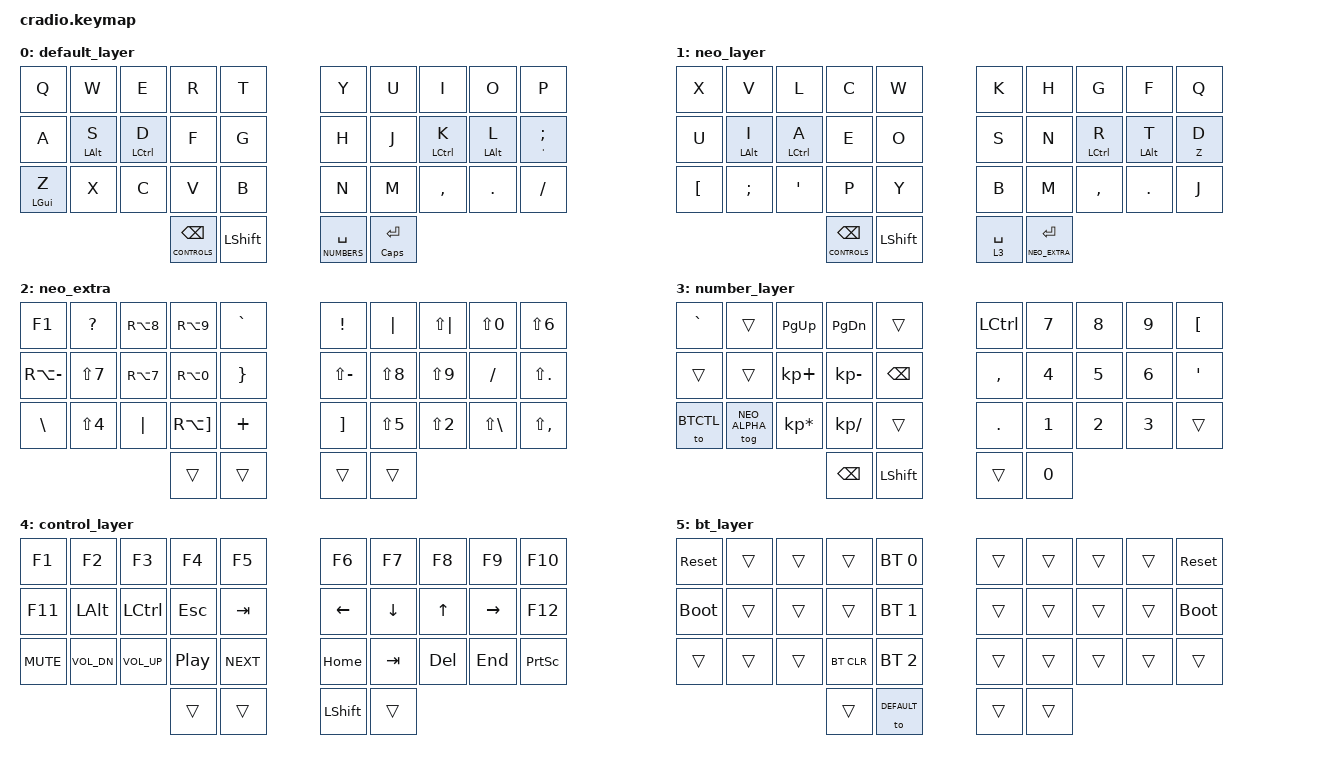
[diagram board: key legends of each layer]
// Copyright (c) 2022 The ZMK Contributors
// SPDX-License-Identifier: MIT

#include <behaviors.dtsi>
#include <dt-bindings/zmk/keys.h>
#include <dt-bindings/zmk/bt.h>

#define DEFAULT 0
#define NEO_ALPHA 1
#define NEO_EXTRA 2
#define NUMBERS 3
#define CONTROLS 4
#define BTCTL 5

&lt {
    tapping-term-ms = <150>;
    flavor = "tap-preferred";
};

/ {
    behaviors {
        ht: hold_tap {
            label = "hold_tap";
            compatible = "zmk,behavior-hold-tap";
            #binding-cells = <2>;
            flavor = "tap-preferred";
            tapping-term-ms = <150>;
            bindings = <&kp>, <&kp>;
            quick-tap-ms = <50>;
        };
    };

    keymap {
        compatible = "zmk,keymap";
        default_layer {
            bindings = <
        //╭──────────┬──────────┬──────────┬──────────┬──────────╮   ╭──────────┬──────────┬──────────┬──────────┬──────────╮
        //│  Q        │  W        │  E        │  R         │  T        │    │  Y       │  U         │  I        │  O         │  P        │
            &kp Q      &kp W      &kp E      &kp R      &kp T                 &kp Y      &kp U      &kp I      &kp O      &kp P
        //├──────────┼──────────┼──────────┼──────────┼──────────┤   ├──────────┼──────────┼──────────┼──────────┼──────────┤
        //│  A         │  S        │  D        │  F        │  G         │   │  H        │  J        │  K        │  L         │ ' "       │
            &kp A       &ht LALT S  &ht LCTRL D &kp F     &kp G               &kp H       &kp J       &ht LCTRL K &ht LALT L    &ht SINGLE_QUOTE SEMICOLON
        //├──────────┼──────────┼──────────┼──────────┼──────────┤   ├──────────┼──────────┼──────────┼──────────┼──────────┤
        //│  Z        │  X         │  C        │  V        │  B         │  │  N         │  M        │ , <       │ . >        │ / ?       │
            &ht LGUI Z    &kp X      &kp C      &kp V      &kp B                 &kp N      &kp M      &kp COMMA  &kp DOT    &kp FSLH
        //╰──────────┴──────────┴──────────┼──────────┼──────────┤   ├──────────┼──────────┼──────────┴──────────┴──────────╯
                                         &lt CONTROLS BSPC   &kp LSHFT     &lt NUMBERS SPACE  &ht CAPS ENTER
        //                                     ╰──────────┴──────────╯   ╰──────────┴──────────╯
            >;
        };

        neo_layer {
            bindings = <
        //╭──────────┬──────────┬──────────┬──────────┬──────────╮   ╭──────────┬──────────┬──────────┬──────────┬──────────╮
        //│           │           │            │           │           │    │           │           │            │           │           │
            &kp X      &kp V        &kp L           &kp C      &kp W            &kp K      &kp H         &kp G      &kp F        &kp Q
        //├──────────┼──────────┼──────────┼──────────┼──────────┤   ├──────────┼──────────┼──────────┼──────────┼──────────┤
        //│            │           │           │          │            │   │            │           │            │           │           │
            &kp U       &ht LALT I    &ht LCTRL A       &kp E     &kp O         &kp S     &kp N      &ht LCTRL R    &ht LALT T   &ht Z D
        //├──────────┼──────────┼──────────┼──────────┼──────────┤   ├──────────┼──────────┼──────────┼──────────┼──────────┤
        //│           │           │           │            │           │    │           │           │           │            │           │
            &kp LBKT  &kp SEMICOLON &kp SINGLE_QUOTE  &kp P        &kp Y         &kp B          &kp M      &kp COMMA  &kp DOT       &kp J
        //╰──────────┴──────────┴──────────┼──────────┼──────────┤   ├──────────┼──────────┼──────────┴──────────┴──────────╯
                                       &lt CONTROLS BSPC   &kp LSHFT        &lt 3 SPACE  &lt NEO_EXTRA ENTER
        //                                     ╰──────────┴──────────╯   ╰──────────┴──────────╯
            >;
        };


        neo_extra {
            bindings = <
        //╭──────────┬──────────┬──────────┬──────────┬──────────╮   ╭──────────┬──────────┬──────────┬──────────┬──────────╮
        //│   …       │   _       │   [        │     ]     │     ^     │    │    !      │    <      │     >      │   =       │    &      │
            &kp F1      &kp QUESTION  &kp RA(N8)  &kp RA(N9)   &kp GRAVE        &kp EXCLAMATION  &kp PIPE &kp LS(PIPE) &kp LS(N0) &kp LS(N6)
        //├──────────┼──────────┼──────────┼──────────┼──────────┤   ├──────────┼──────────┼──────────┼──────────┼──────────┤
        //│     \      │     /     │    {      │     }    │      *     │   │    ?       │       (   │      )     │     -     │     :     │
            &kp RA(MINUS) &kp LS(N7) &kp RA(N7) &kp RA(N0)  &kp RBRC      &kp LS(MINUS) &kp LS(N8) &kp LS(N9)    &kp FSLH  &kp LS(DOT)
        //├──────────┼──────────┼──────────┼──────────┼──────────┤   ├──────────┼──────────┼──────────┼──────────┼──────────┤
        //│   #       │     $     │     |     │    ~       │    `      │    │    +      │    %      │    "      │     '      │   ;       │
            &kp BSLH  &kp LS(N4)    &kp PIPE    &kp RA(RBKT)   &kp PLUS         &kp RBKT   &kp LS(N5)   &kp LS(N2)   &kp LS(BSLH) &kp LS(COMMA)
        //╰──────────┴──────────┴──────────┼──────────┼──────────┤   ├──────────┼──────────┼──────────┴──────────┴──────────╯
                                             &trans     &trans      &trans     &trans
        //                                 ╰──────────┴──────────╯   ╰──────────┴──────────╯
            >;
        };

        number_layer {
            bindings = <
        //╭──────────┬──────────┬──────────┬──────────┬──────────╮   ╭──────────┬──────────┬──────────┬──────────┬──────────╮
        //│           │           │            │           │           │    │           │           │            │           │           │
            &kp GRAVE    &trans     &kp PG_UP     &kp PG_DN     &trans         &kp LCTRL   &kp N7       &kp N8       &kp N9     &kp LBKT
        //├──────────┼──────────┼──────────┼──────────┼──────────┤   ├──────────┼──────────┼──────────┼──────────┼──────────┤
        //│            │           │           │          │            │   │            │           │            │           │           │
            &trans      &trans     &kp KP_PLUS     &kp KP_MINUS     &kp BSPC         &kp COMMA       &kp N4      &kp N5        &kp N6   &kp SINGLE_QUOTE
        //├──────────┼──────────┼──────────┼──────────┼──────────┤   ├──────────┼──────────┼──────────┼──────────┼──────────┤
        //│           │           │           │            │           │    │           │           │           │            │           │
           &to BTCTL  &tog NEO_ALPHA &kp KP_MULTIPLY     &kp KP_DIVIDE     &trans         &kp DOT     &kp N1     &kp N2       &kp N3       &trans
        //╰──────────┴──────────┴──────────┼──────────┼──────────┤   ├──────────┼──────────┼──────────┴──────────┴──────────╯
                                                 &kp BSPC     &kp LSHFT        &trans     &kp N0
        //                                     ╰──────────┴──────────╯   ╰──────────┴──────────╯
            >;
        };

        control_layer {
            bindings = <
        //╭──────────┬──────────┬──────────┬──────────┬──────────╮   ╭──────────┬──────────┬──────────┬──────────┬──────────╮
        //│           │           │            │           │           │    │           │           │            │           │           │
            &kp F1      &kp F2        &kp F3      &kp F4      &kp F5            &kp F6      &kp F7      &kp F8      &kp F9        &kp F10
        //├──────────┼──────────┼──────────┼──────────┼──────────┤   ├──────────┼──────────┼──────────┼──────────┼──────────┤
        //│            │           │           │          │            │   │            │           │            │           │           │
            &kp F11       &kp LALT    &kp LCTRL    &kp ESC    &kp TAB         &kp LEFT    &kp DOWN      &kp UP      &kp RIGHT   &kp F12
        //├──────────┼──────────┼──────────┼──────────┼──────────┤   ├──────────┼──────────┼──────────┼──────────┼──────────┤
        //│           │           │           │            │           │    │           │           │           │            │           │
           &kp C_MUTE &kp C_VOL_DN &kp C_VOL_UP &kp C_PP &kp C_NEXT      &kp HOME  &kp TAB       &kp DEL     &kp END       &kp PRINTSCREEN
        //╰──────────┴──────────┴──────────┼──────────┼──────────┤   ├──────────┼──────────┼──────────┴──────────┴──────────╯
                                                &trans        &trans              &kp LSHFT     &trans
        //                                     ╰──────────┴──────────╯   ╰──────────┴──────────╯
            >;
        };
        

        bt_layer {
            bindings = <
        //╭──────────┬──────────┬──────────┬──────────┬──────────╮   ╭──────────┬──────────┬──────────┬──────────┬──────────╮
        //│ RESET    │          │          │          │PROFILE 0 │   │          │          │          │          │  RESET   │
            &sys_reset     &trans     &trans     &trans    &bt BT_SEL 0    &trans     &trans     &trans     &trans      &sys_reset
        //├──────────┼──────────┼──────────┼──────────┼──────────┤   ├──────────┼──────────┼──────────┼──────────┼──────────┤
        //│BOOTLOADER│          │          │          │PROFILE 1 │   │          │          │          │          │BOOTLOADER│
          &bootloader  &trans     &trans     &trans    &bt BT_SEL 1    &trans     &trans     &trans     &trans    &bootloader
        //├──────────┼──────────┼──────────┼──────────┼──────────┤   ├──────────┼──────────┼──────────┼──────────┼──────────┤
        //│          │          │          │ CLEAR BT │PROFILE 2 │   │          │          │          │          │          │
            &trans     &trans     &trans    &bt BT_CLR &bt BT_SEL 2    &trans     &trans     &trans     &trans     &trans
        //╰──────────┴──────────┴──────────┼──────────┼──────────┤   ├──────────┼──────────┼──────────┴──────────┴──────────╯
                                             &trans     &to DEFAULT         &trans     &trans
        //                                 ╰──────────┴──────────╯   ╰──────────┴──────────╯
            >;
        };
    };
};
